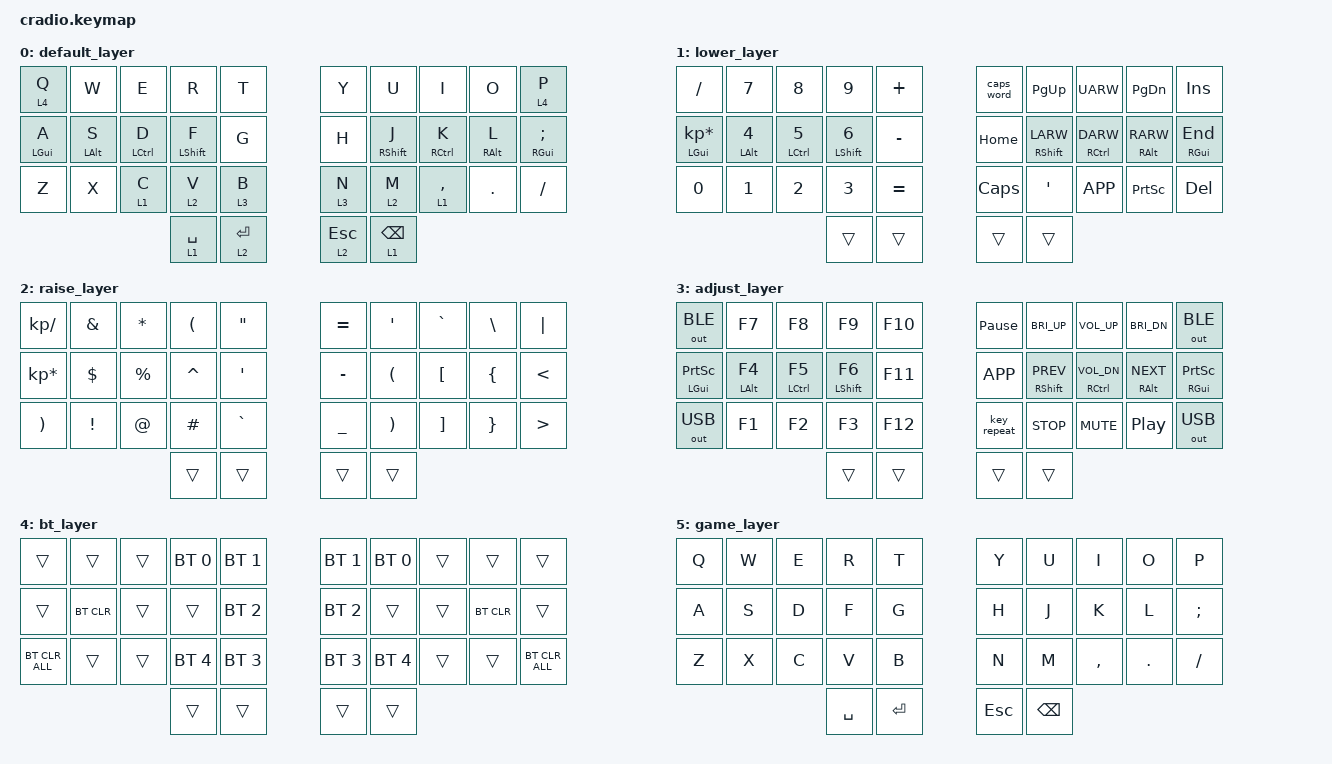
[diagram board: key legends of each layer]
// Copyright (c) 2024 The ZMK Contributors
// SPDX-License-Identifier: MIT

#include <behaviors.dtsi>
#include <dt-bindings/zmk/bt.h>
#include <dt-bindings/zmk/keys.h>
#include <dt-bindings/zmk/outputs.h>


/ {
    behaviors {
        ht: hold_tap {
            compatible = "zmk,behavior-hold-tap";
            #binding-cells = <2>;
            flavor = "tap-preferred";
            tapping-term-ms = <200>;
            quick-tap-ms = <150>;
            require-prior-idle-ms = <100>;
            bindings = <&kp>, <&kp>;
        };
    };

    combos {
        compatible = "zmk,combos";
        combo_app_l {
            timeout-ms = <20>;
            key-positions = <1 2>;
            bindings = <&kp K_APP>;
        };
        combo_bslh_l {
            timeout-ms = <20>;
            key-positions = <2 3>;
            bindings = <&kp BSLH>;
        };
        combo_lbkt_r {
            timeout-ms = <20>;
            key-positions = <6 7>;
            bindings = <&kp LBKT>;
        };
        combo_rbkt_r {
            timeout-ms = <20>;
            key-positions = <7 8>;
            bindings = <&kp RBKT>;
        };

        combo_caps_l {
            timeout-ms = <20>;
            key-positions = <11 12>;
            bindings = <&kp CAPS>;
        };
        combo_sqt_l {
            timeout-ms = <20>;
            key-positions = <12 13>;
            bindings = <&kp SQT>;
        };
        combo_sqt_r {
            timeout-ms = <20>;
            key-positions = <16 17>;
            bindings = <&kp SQT>;
        };
        combo_caps_r {
            timeout-ms = <20>;
            key-positions = <17 18>;
            bindings = <&kp CAPS>;
        };

        combo_grave_l {
            timeout-ms = <20>;
            key-positions = <21 22>;
            bindings = <&kp GRAVE>;
        };
        combo_tab_l {
            timeout-ms = <20>;
            key-positions = <22 23>;
            bindings = <&kp TAB>;
        };
        combo_tab_r {
            timeout-ms = <20>;
            key-positions = <26 27>;
            bindings = <&kp TAB>;
        };
        combo_grave_r {
            timeout-ms = <20>;
            key-positions = <27 28>;
            bindings = <&kp GRAVE>;
        };

        combo_sticky_alt_l {
            timeout-ms = <20>;
            key-positions = <11 21>;
            bindings = <&sk LALT>;
        };
        combo_sticky_ctrl_l {
            timeout-ms = <20>;
            key-positions = <12 22>;
            bindings = <&sk LCTRL>;
        };
        combo_sticky_shift_l {
            timeout-ms = <20>;
            key-positions = <13 23>;
            bindings = <&sk LSHIFT>;
        };
        combo_sticky_gui_l {
            timeout-ms = <20>;
            key-positions = <14 24>;
            bindings = <&sk LGUI>;
        };
        combo_sticky_gui_r {
            timeout-ms = <20>;
            key-positions = <15 25>;
            bindings = <&sk RGUI>;
        };
        combo_sticky_shift_r {
            timeout-ms = <20>;
            key-positions = <16 26>;
            bindings = <&sk RSHIFT>;
        };
        combo_sticky_ctrl_r {
            timeout-ms = <20>;
            key-positions = <17 27>;
            bindings = <&sk RCTRL>;
        };
        combo_sticky_alt_r {
            timeout-ms = <20>;
            key-positions = <18 28>;
            bindings = <&sk RALT>;
        };

        combo_sticky_adjust_l {
            timeout-ms = <20>;
            key-positions = <21 23>;
            bindings = <&sl 3>;
        };
        combo_sticky_adjust_r {
            timeout-ms = <20>;
            key-positions = <26 28>;
            bindings = <&sl 3>;
        };

        combo_toggle_lower_l {
            timeout-ms = <20>;
            key-positions = <12 23>;
            bindings = <&tog 1>;
        };
        combo_toggle_lower_r {
            timeout-ms = <20>;
            key-positions = <17 26>;
            bindings = <&tog 1>;
        };
        combo_toggle_game_l {
            timeout-ms = <20>;
            key-positions = <20 24>;
            bindings = <&tog 5>;
        };
        combo_toggle_game_r {
            timeout-ms = <20>;
            key-positions = <25 29>;
            bindings = <&tog 5>;
        };
    };

    keymap {
        compatible = "zmk,keymap";
        default_layer {
            bindings = <
            &lt 4 Q      &kp W      &kp E      &kp R      &kp T          &kp Y      &kp U      &kp I      &kp O      &lt 4 P
            &ht LGUI A  &ht LALT S  &ht LCTRL D     &ht LSHFT F     &kp G          &kp H   &ht RSHFT J    &ht RCTRL K     &ht RALT L  &ht RGUI SEMI
            &kp Z      &kp X      &lt 1 C      &lt 2 V      &lt 3 B          &lt 3 N      &lt 2 M      &lt 1 COMMA  &kp DOT    &kp FSLH
                                            &lt 1 SPACE   &lt 2 ENTER     &lt 2 ESCAPE  &lt 1 BSPC
            >;
        };

        lower_layer {
            bindings = <
            &kp FSLH    &kp N7     &kp N8     &kp N9     &kp PLUS         &caps_word   &kp PG_UP  &kp UARW  &kp PG_DN    &kp INS
            &ht LGUI KP_MULTIPLY &ht LALT N4 &ht LCTRL N5 &ht LSHFT N6 &kp MINUS &kp HOME &ht RSHFT LARW &ht RCTRL DARW   &ht RALT RARW   &ht RGUI END
            &kp N0  &kp N1     &kp N2     &kp N3     &kp EQUAL         &kp CAPS     &kp SQT     &kp K_APP &kp PSCRN     &kp DEL
                                             &trans     &trans        &trans     &trans
            >;
        };

        raise_layer {
            bindings = <
            &kp KP_DIVIDE      &kp AMPS   &kp ASTRK   &kp LPAR   &kp DQT         &kp EQUAL  &kp SQT   &kp GRAVE   &kp BSLH   &kp PIPE
            &kp KP_MULTIPLY   &kp DLLR     &kp PRCNT   &kp CARET   &kp SQT      &kp MINUS  &kp LPAR  &kp LBKT  &kp LBRC   &kp LT
            &kp RPAR     &kp EXCL     &kp AT     &kp HASH     &kp GRAVE         &kp UNDER   &kp RPAR  &kp RBKT   &kp RBRC   &kp GT
                                             &trans     &trans         &trans     &trans
            >;
        };

        adjust_layer {
            bindings = <
            &out OUT_BLE    &kp F7      &kp F8          &kp F9          &kp F10    &kp PAUSE_BREAK     &kp C_BRI_UP     &kp C_VOL_UP    &kp C_BRI_DN    &out OUT_BLE
            &ht LGUI PSCRN  &ht LALT F4 &ht LCTRL F5    &ht LSHFT F6    &kp F11    &kp K_APP     &ht RSHFT C_PREV     &ht RCTRL C_VOL_DN     &ht RALT C_NEXT    &ht RGUI PSCRN
            &out OUT_USB      &kp F1      &kp F2          &kp F3          &kp F12    &key_repeat     &kp C_STOP     &kp C_MUTE     &kp C_PP     &out OUT_USB
                                             &trans     &trans         &trans     &trans
            >;
        };

        bt_layer {
            bindings = <
            &trans  &trans  &trans  &bt BT_SEL 0  &bt BT_SEL 1  &bt BT_SEL 1  &bt BT_SEL 0  &trans  &trans  &trans
            &trans  &bt BT_CLR  &trans  &trans  &bt BT_SEL 2  &bt BT_SEL 2  &trans  &trans  &bt BT_CLR  &trans
            &bt BT_CLR_ALL  &trans  &trans  &bt BT_SEL 4  &bt BT_SEL 3  &bt BT_SEL 3  &bt BT_SEL 4  &trans  &trans  &bt BT_CLR_ALL
                                    &trans  &trans  &trans  &trans
            >;
        };

        game_layer {
            bindings = <
            &kp Q      &kp W      &kp E      &kp R      &kp T          &kp Y      &kp U      &kp I      &kp O      &kp P
            &kp A  &kp S  &kp D     &kp F     &kp G          &kp H   &kp J    &kp K     &kp L  &kp SEMI
            &kp Z      &kp X      &kp C      &kp V      &kp B          &kp N      &kp M      &kp COMMA  &kp DOT    &kp FSLH
                                            &kp SPACE   &kp ENTER     &kp ESCAPE  &kp BSPC
            >;
        };
    };
};
